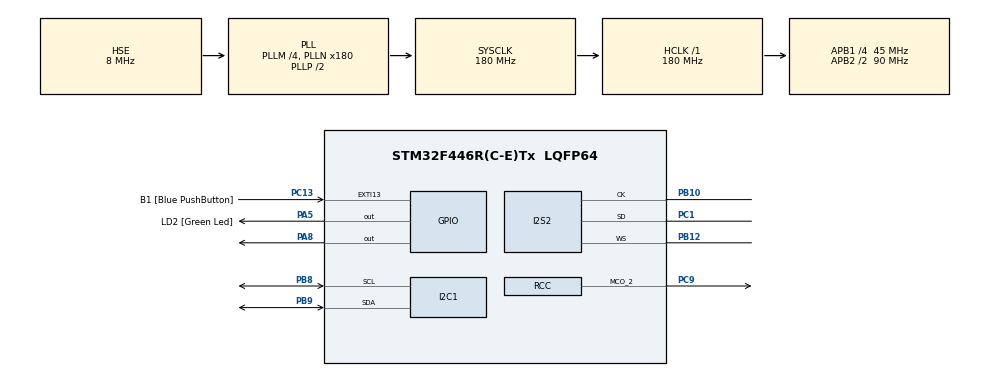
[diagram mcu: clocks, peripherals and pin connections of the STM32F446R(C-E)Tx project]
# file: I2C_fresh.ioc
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Dma.Request0=SPI2_RX
Dma.SPI2_RX.0.Direction=DMA_PERIPH_TO_MEMORY
Dma.SPI2_RX.0.FIFOMode=DMA_FIFOMODE_DISABLE
Dma.SPI2_RX.0.Instance=DMA1_Stream3
Dma.SPI2_RX.0.MemDataAlignment=DMA_MDATAALIGN_HALFWORD
Dma.SPI2_RX.0.MemInc=DMA_MINC_ENABLE
Dma.SPI2_RX.0.Mode=DMA_CIRCULAR
Dma.SPI2_RX.0.PeriphDataAlignment=DMA_PDATAALIGN_HALFWORD
Dma.SPI2_RX.0.PeriphInc=DMA_PINC_DISABLE
Dma.SPI2_RX.0.Priority=DMA_PRIORITY_LOW
I2S2.AudioFreq=I2S_AUDIOFREQ_48K
I2S2.DataFormat=I2S_DATAFORMAT_24B
I2S2.ErrorAudioFreq=1.72 %
I2S2.FullDuplexMode=I2S_FULLDUPLEXMODE_DISABLE
I2S2.Instance=SPI$Index
I2S2.Mode=I2S_MODE_SLAVE_RX
I2S2.RealAudioFreq=48.828 KHz
I2S2.VirtualMode=I2S_MODE_SLAVE
Mcu.Family=STM32F4
Mcu.Name=STM32F446R(C-E)Tx
Mcu.Package=LQFP64
NVIC.DMA1_Stream3_IRQn=true\:0\:0\:false\:false\:true\:false\:true
NVIC.PriorityGroup=NVIC_PRIORITYGROUP_0
PA13.GPIO_Label=TMS
PA13.Signal=SYS_JTMS-SWDIO
PA14.GPIO_Label=TCK
PA14.Signal=SYS_JTCK-SWCLK
PA2.GPIO_Label=USART_TX
PA2.Signal=USART2_TX
PA3.GPIO_Label=USART_RX
PA3.Signal=USART2_RX
PA5.GPIO_Label=LD2 [Green Led]
PA5.Signal=GPIO_Output
PA8.Signal=GPIO_Output
PB10.Mode=Half_Duplex_Slave
PB10.Signal=I2S2_CK
PB12.Mode=Half_Duplex_Slave
PB12.Signal=I2S2_WS
PB3.GPIO_Label=SWO
PB3.Signal=SYS_JTDO-SWO
PB8.Mode=I2C
PB8.Signal=I2C1_SCL
PB9.Mode=I2C
PB9.Signal=I2C1_SDA
PC1.Mode=Half_Duplex_Slave
PC1.Signal=I2S2_SD
PC13.GPIO_Label=B1 [Blue PushButton]
PC13.GPIO_ModeDefaultEXTI=GPIO_MODE_IT_FALLING
PC13.Signal=GPXTI13
PC14-OSC32_IN.Signal=RCC_OSC32_IN
PC15-OSC32_OUT.Signal=RCC_OSC32_OUT
PC9.Mode=Clock-out-2
PC9.Signal=RCC_MCO_2
PH0-OSC_IN.Mode=HSE-External-Oscillator
PH0-OSC_IN.Signal=RCC_OSC_IN
PH1-OSC_OUT.Mode=HSE-External-Oscillator
PH1-OSC_OUT.Signal=RCC_OSC_OUT
ProjectManager.HeapSize=0x200
ProjectManager.StackSize=0x400
ProjectManager.TargetToolchain=STM32CubeIDE
RCC.AHBFreq_Value=180000000
RCC.APB1CLKDivider=RCC_HCLK_DIV4
RCC.APB1Freq_Value=45000000
RCC.APB1TimFreq_Value=90000000
RCC.APB2CLKDivider=RCC_HCLK_DIV2
RCC.APB2Freq_Value=90000000
RCC.APB2TimFreq_Value=180000000
RCC.CortexFreq_Value=180000000
RCC.FLatency-AdvancedSettings=FLASH_LATENCY_5
RCC.HCLKFreq_Value=180000000
RCC.HSE_VALUE=8000000
RCC.HSI_VALUE=16000000
RCC.LSE_VALUE=32768
RCC.PLLI2SM=4
RCC.PLLI2SN=50
RCC.PLLM=4
RCC.PLLN=180
RCC.PLLSourceVirtual=RCC_PLLSOURCE_HSE
RCC.RCC_MCO2Source=RCC_MCO2SOURCE_HSE
RCC.SYSCLKFreq_VALUE=180000000
RCC.SYSCLKSource=RCC_SYSCLKSOURCE_PLLCLK
RCC.USBFreq_Value=180000000
RCC.VCOOutputFreq_Value=360000000
board=NUCLEO-F446RE

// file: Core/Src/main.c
/* USER CODE BEGIN Header */
/**
  ******************************************************************************
  * @file           : main.c
  * @brief          : Main program body
  ******************************************************************************
  * @attention
  *
  * <h2><center>&copy; Copyright (c) 2021 STMicroelectronics.
  * All rights reserved.</center></h2>
  *
  * This software component is licensed by ST under BSD 3-Clause license,
  * the "License"; You may not use this file except in compliance with the
  * License. You may obtain a copy of the License at:
  *                        opensource.org/licenses/BSD-3-Clause
  *
  ******************************************************************************
  */
/* USER CODE END Header */
#include "main.h"

/* USER CODE BEGIN Includes */
#include <string.h>
/* USER CODE END Includes */

/* USER CODE BEGIN PD */
#define BUFF_LEN 32

/* USER CODE END PD */

I2C_HandleTypeDef hi2c1;

I2S_HandleTypeDef hi2s2;
DMA_HandleTypeDef hdma_spi2_rx;

/* USER CODE BEGIN PV */
double value = 1.0;
char msg[20] = "";

/* USER CODE END PV */

void SystemClock_Config(void);
static void MX_GPIO_Init(void);
static void MX_I2C1_Init(void);
static void MX_DMA_Init(void);
static void MX_I2S2_Init(void);

/* USER CODE BEGIN 0 */
int buffCounter = 0;
// for ping pong buffer
uint16_t *activeBuffer;
uint16_t *backBuffer;

uint16_t audioRcvBuff[32];

uint16_t myBuff[32];
uint32_t Timeout = 1000;

/* USER CODE END 0 */

int main(void)
{

  /* MCU Configuration--------------------------------------------------------*/

  /* Reset of all peripherals, Initializes the Flash interface and the Systick. */
  HAL_Init();

  /* Configure the system clock */
  SystemClock_Config();

  /* Initialize all configured peripherals */
  MX_GPIO_Init();
  MX_I2C1_Init();
  MX_DMA_Init();
  MX_I2S2_Init();
  /* USER CODE BEGIN 2 */

  // Register 72, ADC Master Mode, 256fs
  uint8_t w[2] = {0x48, 0x40};
  // Register 64, ADC and DAC Normal Operation, DAC out Single-ended
  uint8_t w2[2] = {0x40, 0x81};
  //init array to zero
  memset(audioRcvBuff, 0, sizeof(audioRcvBuff));

  HAL_GPIO_WritePin(GPIOA, GPIO_PIN_8, 0);
  HAL_Delay(1000);

  HAL_I2C_Master_Transmit(&hi2c1, 0x46 << 1, w, 2, 3000);
  HAL_I2C_Master_Transmit(&hi2c1, 0x46 << 1, w2, 2, 3000);
  //HAL_I2C_Master_Transmit(&hi2c1, 0x46 << 1,)
  // 10010001
  HAL_Delay(1000);
  /* USER CODE END 2 */

  /* Infinite loop */
  /* USER CODE BEGIN WHILE */
  HAL_I2S_Receive_DMA(&hi2s2, audioRcvBuff, BUFF_LEN);

  while (1)
  {
//	  HAL_I2S_Receive(&hi2s2, audioBuff, BUFF_LEN, Timeout);
//	  sprintf(msg, "%f\r\n", audioBuff);
//	  HAL_UART_Transmit(&huart2, (uint8_t*) msg, 20, 100);
//	  HAL_Delay(1000);

    /* USER CODE END WHILE */

  }
}

void SystemClock_Config(void)
{
  RCC_OscInitTypeDef RCC_OscInitStruct = {0};
  RCC_ClkInitTypeDef RCC_ClkInitStruct = {0};

  /** Configure the main internal regulator output voltage
  */
  __HAL_RCC_PWR_CLK_ENABLE();
  __HAL_PWR_VOLTAGESCALING_CONFIG(PWR_REGULATOR_VOLTAGE_SCALE1);
  /** Initializes the RCC Oscillators according to the specified parameters
  * in the RCC_OscInitTypeDef structure.
  */
  RCC_OscInitStruct.OscillatorType = RCC_OSCILLATORTYPE_HSE;
  RCC_OscInitStruct.HSEState = RCC_HSE_ON;
  RCC_OscInitStruct.PLL.PLLState = RCC_PLL_ON;
  RCC_OscInitStruct.PLL.PLLSource = RCC_PLLSOURCE_HSE;
  RCC_OscInitStruct.PLL.PLLM = 4;
  RCC_OscInitStruct.PLL.PLLN = 180;
  RCC_OscInitStruct.PLL.PLLP = RCC_PLLP_DIV2;
  RCC_OscInitStruct.PLL.PLLQ = 2;
  RCC_OscInitStruct.PLL.PLLR = 2;
  if (HAL_RCC_OscConfig(&RCC_OscInitStruct) != HAL_OK)
  {
    Error_Handler();
  }
  /** Activate the Over-Drive mode
  */
  if (HAL_PWREx_EnableOverDrive() != HAL_OK)
  {
    Error_Handler();
  }
  /** Initializes the CPU, AHB and APB buses clocks
  */
  RCC_ClkInitStruct.ClockType = RCC_CLOCKTYPE_HCLK|RCC_CLOCKTYPE_SYSCLK
                              |RCC_CLOCKTYPE_PCLK1|RCC_CLOCKTYPE_PCLK2;
  RCC_ClkInitStruct.SYSCLKSource = RCC_SYSCLKSOURCE_PLLCLK;
  RCC_ClkInitStruct.AHBCLKDivider = RCC_SYSCLK_DIV1;
  RCC_ClkInitStruct.APB1CLKDivider = RCC_HCLK_DIV4;
  RCC_ClkInitStruct.APB2CLKDivider = RCC_HCLK_DIV2;

  if (HAL_RCC_ClockConfig(&RCC_ClkInitStruct, FLASH_LATENCY_5) != HAL_OK)
  {
    Error_Handler();
  }
  HAL_RCC_MCOConfig(RCC_MCO2, RCC_MCO2SOURCE_HSE, RCC_MCODIV_1);
}

static void MX_I2C1_Init(void)
{

  hi2c1.Instance = I2C1;
  hi2c1.Init.ClockSpeed = 100000;
  hi2c1.Init.DutyCycle = I2C_DUTYCYCLE_2;
  hi2c1.Init.OwnAddress1 = 0;
  hi2c1.Init.AddressingMode = I2C_ADDRESSINGMODE_7BIT;
  hi2c1.Init.DualAddressMode = I2C_DUALADDRESS_DISABLE;
  hi2c1.Init.OwnAddress2 = 0;
  hi2c1.Init.GeneralCallMode = I2C_GENERALCALL_DISABLE;
  hi2c1.Init.NoStretchMode = I2C_NOSTRETCH_DISABLE;
  if (HAL_I2C_Init(&hi2c1) != HAL_OK)
  {
    Error_Handler();
  }

}

static void MX_I2S2_Init(void)
{

  hi2s2.Instance = SPI2;
  hi2s2.Init.Mode = I2S_MODE_SLAVE_RX;
  hi2s2.Init.Standard = I2S_STANDARD_PHILIPS;
  hi2s2.Init.DataFormat = I2S_DATAFORMAT_24B;
  hi2s2.Init.MCLKOutput = I2S_MCLKOUTPUT_DISABLE;
  hi2s2.Init.AudioFreq = I2S_AUDIOFREQ_48K;
  hi2s2.Init.CPOL = I2S_CPOL_LOW;
  hi2s2.Init.ClockSource = I2S_CLOCK_PLL;
  hi2s2.Init.FullDuplexMode = I2S_FULLDUPLEXMODE_DISABLE;
  if (HAL_I2S_Init(&hi2s2) != HAL_OK)
  {
    Error_Handler();
  }

}

static void MX_DMA_Init(void)
{

  /* DMA controller clock enable */
  __HAL_RCC_DMA1_CLK_ENABLE();

  /* DMA interrupt init */
  /* DMA1_Stream3_IRQn interrupt configuration */
  HAL_NVIC_SetPriority(DMA1_Stream3_IRQn, 0, 0);
  HAL_NVIC_EnableIRQ(DMA1_Stream3_IRQn);

}

static void MX_GPIO_Init(void)
{
  GPIO_InitTypeDef GPIO_InitStruct = {0};

  /* GPIO Ports Clock Enable */
  __HAL_RCC_GPIOC_CLK_ENABLE();
  __HAL_RCC_GPIOH_CLK_ENABLE();
  __HAL_RCC_GPIOA_CLK_ENABLE();
  __HAL_RCC_GPIOB_CLK_ENABLE();

  /*Configure GPIO pin Output Level */
  HAL_GPIO_WritePin(GPIOA, LD2_Pin|GPIO_PIN_8, GPIO_PIN_RESET);

  /*Configure GPIO pin : B1_Pin */
  GPIO_InitStruct.Pin = B1_Pin;
  GPIO_InitStruct.Mode = GPIO_MODE_IT_FALLING;
  GPIO_InitStruct.Pull = GPIO_NOPULL;
  HAL_GPIO_Init(B1_GPIO_Port, &GPIO_InitStruct);

  /*Configure GPIO pins : USART_TX_Pin USART_RX_Pin */
  GPIO_InitStruct.Pin = USART_TX_Pin|USART_RX_Pin;
  GPIO_InitStruct.Mode = GPIO_MODE_AF_PP;
  GPIO_InitStruct.Pull = GPIO_NOPULL;
  GPIO_InitStruct.Speed = GPIO_SPEED_FREQ_VERY_HIGH;
  GPIO_InitStruct.Alternate = GPIO_AF7_USART2;
  HAL_GPIO_Init(GPIOA, &GPIO_InitStruct);

  /*Configure GPIO pins : LD2_Pin PA8 */
  GPIO_InitStruct.Pin = LD2_Pin|GPIO_PIN_8;
  GPIO_InitStruct.Mode = GPIO_MODE_OUTPUT_PP;
  GPIO_InitStruct.Pull = GPIO_NOPULL;
  GPIO_InitStruct.Speed = GPIO_SPEED_FREQ_LOW;
  HAL_GPIO_Init(GPIOA, &GPIO_InitStruct);

  /*Configure GPIO pin : PC9 */
  GPIO_InitStruct.Pin = GPIO_PIN_9;
  GPIO_InitStruct.Mode = GPIO_MODE_AF_PP;
  GPIO_InitStruct.Pull = GPIO_NOPULL;
  GPIO_InitStruct.Speed = GPIO_SPEED_FREQ_LOW;
  GPIO_InitStruct.Alternate = GPIO_AF0_MCO;
  HAL_GPIO_Init(GPIOC, &GPIO_InitStruct);

}

/* USER CODE BEGIN 4 */
void HAL_I2S_RxCpltCallback(I2S_HandleTypeDef * hi2s2) {
	buffCounter++;
	if(buffCounter == 1) {
		for(int i = 0; i < 32; i++) {
			myBuff[i] = audioRcvBuff[i];
		}

	}
}

void HAL_I2S_RxHalfCpltCallback(I2S_HandleTypeDef * hi2s2) {

}

/* USER CODE END 4 */

void Error_Handler(void)
{
  __disable_irq();
  while (1)
  {
  }
}

/************************ (C) COPYRIGHT STMicroelectronics *****END OF FILE****/
